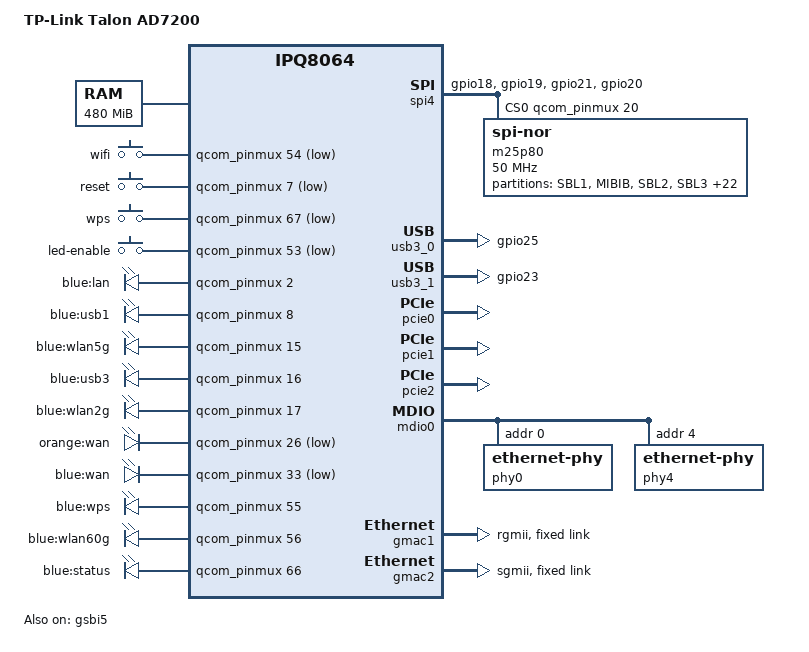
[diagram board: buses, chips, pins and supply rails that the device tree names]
//SPDX-License-Identifier: GPL-2.0-or-later OR MIT
#include "qcom-ipq8064-v2.0.dtsi"

#include <dt-bindings/input/input.h>

/ {
	model = "TP-Link Talon AD7200";
	compatible = "tplink,ad7200", "qcom,ipq8064";

	memory@0 {
		reg = <0x42000000 0x1e000000>;
		device_type = "memory";
	};

	aliases {
		mdio-gpio0 = &mdio0;

		led-boot = &power;
		led-failsafe = &power;
		led-running = &power;
		led-upgrade = &power;
		label-mac-device = &gmac2;
	};

	keys {
		compatible = "gpio-keys";
		pinctrl-0 = <&button_pins>;
		pinctrl-names = "default";

		wifi {
			label = "wifi";
			gpios = <&qcom_pinmux 54 GPIO_ACTIVE_LOW>;
			linux,code = <KEY_RFKILL>;
		};

		reset {
			label = "reset";
			gpios = <&qcom_pinmux 7 GPIO_ACTIVE_LOW>;
			linux,code = <KEY_RESTART>;
		};

		wps {
			label = "wps";
			gpios = <&qcom_pinmux 67 GPIO_ACTIVE_LOW>;
			linux,code = <KEY_WPS_BUTTON>;
		};

		ledgeneral {
			label = "led-enable";
			gpios = <&qcom_pinmux 53 GPIO_ACTIVE_LOW>;
			linux,code = <KEY_LIGHTS_TOGGLE>;
		};
	};

	leds {
		compatible = "gpio-leds";
		pinctrl-0 = <&led_pins>;
		pinctrl-names = "default";

		lan {
			label = "blue:lan";
			gpios = <&qcom_pinmux 2 GPIO_ACTIVE_HIGH>;
		};

		usb1 {
			label = "blue:usb1";
			gpios = <&qcom_pinmux 8 GPIO_ACTIVE_HIGH>;
		};

		wlan5g {
			label = "blue:wlan5g";
			gpios = <&qcom_pinmux 15 GPIO_ACTIVE_HIGH>;
		};

		usb3 {
			label = "blue:usb3";
			gpios = <&qcom_pinmux 16 GPIO_ACTIVE_HIGH>;
		};

		wlan2g {
			label = "blue:wlan2g";
			gpios = <&qcom_pinmux 17 GPIO_ACTIVE_HIGH>;
		};

		wan_orange {
			label = "orange:wan";
			gpios = <&qcom_pinmux 26 GPIO_ACTIVE_LOW>;
		};

		wan_blue {
			label = "blue:wan";
			gpios = <&qcom_pinmux 33 GPIO_ACTIVE_LOW>;
		};

		wps {
			label = "blue:wps";
			gpios = <&qcom_pinmux 55 GPIO_ACTIVE_HIGH>;
		};

		wlan60g {
			label = "blue:wlan60g";
			gpios = <&qcom_pinmux 56 GPIO_ACTIVE_HIGH>;
		};

		power: status {
			label = "blue:status";
			gpios = <&qcom_pinmux 66 GPIO_ACTIVE_HIGH>;
		};
	};
};

&qcom_pinmux {
	button_pins: button_pins {
		mux {
			pins = "gpio53", "gpio54", "gpio67";
			function = "gpio";
			drive-strength = <2>;
			bias-pull-up;
		};
	};

	led_pins: led_pins {
		mux {
			pins = "gpio2", "gpio8", "gpio15", "gpio16", "gpio17", "gpio26",
					"gpio33", "gpio55", "gpio56", "gpio66";
			function = "gpio";
			drive-strength = <2>;
			bias-pull-up;
		};
	};

	spi_pins: spi_pins {
		mux {
			pins = "gpio18", "gpio19", "gpio21";
			function = "gsbi5";
			bias-pull-down;
		};

		data {
			pins = "gpio18", "gpio19";
			drive-strength = <10>;
		};

		cs {
			pins = "gpio20";
			function = "gpio";
			drive-strength = <10>;
			bias-pull-up;
		};

		clk {
			pins = "gpio21";
			drive-strength = <12>;
		};
	};

	usb0_pwr_en_pin: usb0_pwr_en_pin {
		mux {
			pins = "gpio25";
			function = "gpio";
			drive-strength = <10>;
			bias-pull-up;
			output-high;
		};
	};

	usb1_pwr_en_pin: usb1_pwr_en_pin {
		mux {
			pins = "gpio23";
			function = "gpio";
			drive-strength = <10>;
			bias-pull-up;
			output-high;
		};
	};
};

&gsbi5 {
	qcom,mode = <GSBI_PROT_SPI>;
	status = "okay";

	spi4: spi@1a280000 {
		status = "okay";

		pinctrl-0 = <&spi_pins>;
		pinctrl-names = "default";

		cs-gpios = <&qcom_pinmux 20 GPIO_ACTIVE_HIGH>;

		m25p80@0 {
			compatible = "jedec,spi-nor";
			#address-cells = <1>;
			#size-cells = <1>;
			spi-max-frequency = <50000000>;
			reg = <0>;

			partition@0 {
				label = "SBL1";
				reg = <0x0 0x20000>;
				read-only;
			};

			partition@20000 {
				label = "MIBIB";
				reg = <0x20000 0x20000>;
				read-only;
			};

			partition@40000 {
				label = "SBL2";
				reg = <0x40000 0x20000>;
				read-only;
			};

			partition@60000 {
				label = "SBL3";
				reg = <0x60000 0x30000>;
				read-only;
			};

			partition@90000 {
				label = "DDRCONFIG";
				reg = <0x90000 0x10000>;
				read-only;
			};

			partition@a0000 {
				label = "SSD";
				reg = <0xa0000 0x10000>;
				read-only;
			};

			partition@b0000 {
				label = "TZ";
				reg = <0xb0000 0x30000>;
				read-only;
			};

			partition@e0000 {
				label = "RPM";
				reg = <0xe0000 0x20000>;
				read-only;
			};

			partition@100000 {
				label = "fs-uboot";
				reg = <0x100000 0x70000>;
				read-only;
			};

			partition@170000 {
				label = "uboot-env";
				reg = <0x170000 0x40000>;
				read-only;
			};

			partition@1b0000 {
				label = "radio";
				reg = <0x1b0000 0x40000>;
				read-only;
			};

			partition@1f0000 {
				label = "os-image";
				reg = <0x1f0000 0x400000>;
			};

			partition@5f0000 {
				label = "rootfs";
				reg = <0x5f0000 0x1900000>;
			};

			defaultmac: partition@1ef0000 {
				label = "default-mac";
				reg = <0x1ef0000 0x00200>;
				read-only;
			};

			partition@1ef0200 {
				label = "pin";
				reg = <0x1ef0200 0x00200>;
				read-only;
			};

			partition@1ef0400 {
				label = "device-id";
				reg = <0x1ef0400 0x00200>;
				read-only;
			};

			partition@1ef0600 {
				label = "product-info";
				reg = <0x1ef0600 0x0fa00>;
				read-only;
			};

			partition@1f00000 {
				label = "partition-table";
				reg = <0x1f00000 0x10000>;
				read-only;
			};

			partition@1f10000 {
				label = "soft-version";
				reg = <0x1f10000 0x10000>;
				read-only;
			};

			partition@1f20000 {
				label = "support-list";
				reg = <0x1f20000 0x10000>;
				read-only;
			};

			partition@1f30000 {
				label = "profile";
				reg = <0x1f30000 0x10000>;
				read-only;
			};

			partition@1f40000 {
				label = "default-config";
				reg = <0x1f40000 0x10000>;
				read-only;
			};

			partition@1f50000 {
				label = "user-config";
				reg = <0x1f50000 0x40000>;
				read-only;
			};

			partition@1f90000 {
				label = "qos-db";
				reg = <0x1f90000 0x40000>;
				read-only;
			};

			partition@1fd0000 {
				label = "usb-config";
				reg = <0x1fd0000 0x10000>;
				read-only;
			};

			partition@1fe0000 {
				label = "log";
				reg = <0x1fe0000 0x20000>;
				read-only;
			};
		};
	};
};

&usb3_0 {
	status = "okay";

	pinctrl-0 = <&usb0_pwr_en_pin>;
	pinctrl-names = "default";
};

&usb3_1 {
	status = "okay";

	pinctrl-0 = <&usb1_pwr_en_pin>;
	pinctrl-names = "default";
};

&pcie0 {
	status = "okay";
};

&pcie1 {
	status = "okay";
	max-link-speed = <1>;
};

&pcie2 {
	status = "okay";
	max-link-speed = <1>;
};

&mdio0 {
	status = "okay";

	pinctrl-0 = <&mdio0_pins>;
	pinctrl-names = "default";

	phy0: ethernet-phy@0 {
		reg = <0>;
		qca,ar8327-initvals = <
			0x00004 0x7600000   /* PAD0_MODE */
			0x00008 0x1000000   /* PAD5_MODE */
			0x0000c 0x80        /* PAD6_MODE */
			0x000e4 0x6a545     /* MAC_POWER_SEL */
			0x000e0 0xc74164de  /* SGMII_CTRL */
			0x0007c 0x4e        /* PORT0_STATUS */
			0x00094 0x4e        /* PORT6_STATUS */
			>;
	};

	phy4: ethernet-phy@4 {
		reg = <4>;
	};
};

&gmac1 {
	status = "okay";
	phy-mode = "rgmii";
	qcom,id = <1>;

	pinctrl-0 = <&rgmii2_pins>;
	pinctrl-names = "default";

	mtd-mac-address = <&defaultmac 0x8>;
	mtd-mac-address-increment = <1>;

	fixed-link {
		speed = <1000>;
		full-duplex;
	};
};

&gmac2 {
	status = "okay";
	phy-mode = "sgmii";
	qcom,id = <2>;

	mtd-mac-address = <&defaultmac 0x8>;

	fixed-link {
		speed = <1000>;
		full-duplex;
	};
};

&adm_dma {
	status = "okay";
};
